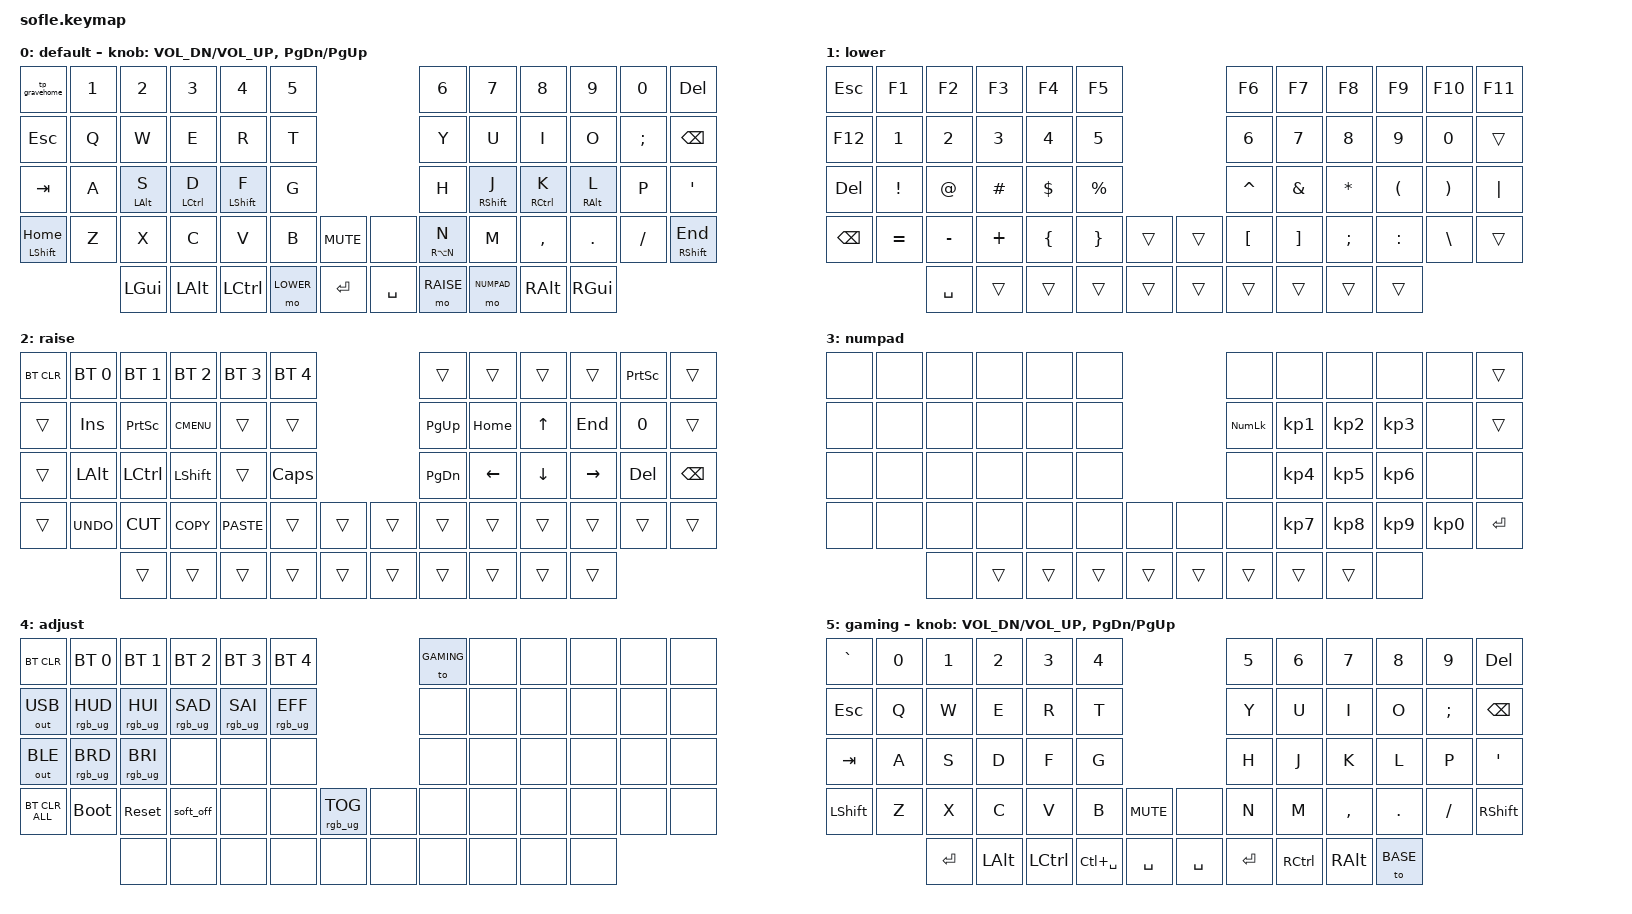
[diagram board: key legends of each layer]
/*
 * Copyright (c) 2020 The ZMK Contributors
 *
 * SPDX-License-Identifier: MIT
 */

#include <behaviors.dtsi>
#include <dt-bindings/zmk/bt.h>
#include <dt-bindings/zmk/keys.h>
#include <dt-bindings/zmk/outputs.h>
#include <dt-bindings/zmk/rgb.h>

#define BASE 0
#define LOWER 1
#define RAISE 2
#define NUMPAD 3
#define ADJUST 4
#define GAMING 5

// Hand position groups for home-row mods (timeless recipe)

#define KEYS_L 0 1 2 3 4 5 12 13 14 15 16 17 24 25 26 27 28 29 36 37 38 39 40 41 42
#define KEYS_R 6 7 8 9 10 11 18 19 20 21 22 23 30 31 32 33 34 35 43 44 45 46 47 48 49
#define THUMBS 50 51 52 53 54 55 56 57 58 59

/ {
    // Configuración Home Row Mods (Timeless)

    behaviors {
        hml: home_row_mod_left {
            compatible = "zmk,behavior-hold-tap";
            #binding-cells = <2>;
            tapping-term-ms = <280>;
            quick-tap-ms = <175>;
            require-prior-idle-ms = <150>;
            flavor = "balanced";
            bindings = <&kp>, <&kp>;

            hold-trigger-key-positions = <KEYS_R THUMBS>;
            hold-trigger-on-release;
        };

        hmr: home_row_mod_right {
            compatible = "zmk,behavior-hold-tap";
            #binding-cells = <2>;
            tapping-term-ms = <280>;
            quick-tap-ms = <175>;
            require-prior-idle-ms = <150>;
            flavor = "balanced";
            bindings = <&kp>, <&kp>;

            hold-trigger-key-positions = <KEYS_L THUMBS>;
            hold-trigger-on-release;
        };

        ntilde_ht: ntilde_ht {
            compatible = "zmk,behavior-hold-tap";
            #binding-cells = <2>;
            tapping-term-ms = <200>;
            quick-tap-ms = <175>;
            flavor = "tap-preferred";
            bindings = <&kp>, <&kp>;
        };

        tp_gravehome: tp_gravehome {
            compatible = "zmk,behavior-tap-dance";
            #binding-cells = <0>;
            bindings = <&kp GRAVE>, <&kp HOME>;
        };
    };

    conditional_layers {
        compatible = "zmk,conditional-layers";

        adjust_layer {
            if-layers = <LOWER RAISE>;
            then-layer = <ADJUST>;
        };
    };

    keymap {
        compatible = "zmk,keymap";

        default_layer {
            display-name = "default";
            bindings = <
&tp_gravehome    &kp N1  &kp N2       &kp N3        &kp N4        &kp N5                              &kp N6              &kp N7        &kp N8        &kp N9       &kp N0         &kp DELETE
&kp ESC          &kp Q   &kp W        &kp E         &kp R         &kp T                               &kp Y               &kp U         &kp I         &kp O        &kp SEMICOLON  &kp BSPC
&kp TAB          &kp A   &hml LALT S  &hml LCTRL D  &hml LSHFT F  &kp G                               &kp H               &hmr RSHFT J  &hmr RCTRL K  &hmr RALT L  &kp P          &kp SQT
&mt LSHIFT HOME  &kp Z   &kp X        &kp C         &kp V         &kp B      &kp C_MUTE    &none      &ntilde_ht RA(N) N  &kp M         &kp COMMA     &kp DOT      &kp FSLH       &mt RSHIFT END
                         &kp LGUI     &kp LALT      &kp LCTRL     &mo LOWER  &kp RET       &kp SPACE  &mo RAISE           &mo NUMPAD    &kp RALT      &kp RGUI
            >;

            sensor-bindings =
                <&inc_dec_kp C_VOL_DN C_VOL_UP>,
                <&inc_dec_kp PAGE_DOWN PAGE_UP>;
        };

        lower_layer {
            display-name = "lower";
            bindings = <
&kp ESC     &kp F1     &kp F2     &kp F3    &kp F4    &kp F5                       &kp F6     &kp F7    &kp F8     &kp F9     &kp F10   &kp F11
&kp F12     &kp N1     &kp N2     &kp N3    &kp N4    &kp N5                       &kp N6     &kp N7    &kp N8     &kp N9     &kp N0    &trans
&kp DELETE  &kp EXCL   &kp AT     &kp HASH  &kp DLLR  &kp PRCNT                    &kp CARET  &kp AMPS  &kp ASTRK  &kp LPAR   &kp RPAR  &kp PIPE
&kp BSPC    &kp EQUAL  &kp MINUS  &kp PLUS  &kp LBRC  &kp RBRC   &trans    &trans  &kp LBKT   &kp RBKT  &kp SEMI   &kp COLON  &kp BSLH  &trans
                       &kp SPACE  &trans    &trans    &trans     &trans    &trans  &trans     &trans    &trans     &trans
            >;
        };

        raise_layer {
            display-name = "raise";
            bindings = <
&bt BT_CLR  &bt BT_SEL 0  &bt BT_SEL 1  &bt BT_SEL 2  &bt BT_SEL 3  &bt BT_SEL 4                    &trans     &trans    &trans    &trans     &kp PRINTSCREEN  &trans
&trans      &kp INS       &kp PSCRN     &kp K_CMENU   &trans        &trans                          &kp PG_UP  &kp HOME  &kp UP    &kp END    &kp N0           &trans
&trans      &kp LALT      &kp LCTRL     &kp LSHFT     &trans        &kp CLCK                        &kp PG_DN  &kp LEFT  &kp DOWN  &kp RIGHT  &kp DEL          &kp BSPC
&trans      &kp K_UNDO    &kp K_CUT     &kp K_COPY    &kp K_PASTE   &trans        &trans    &trans  &trans     &trans    &trans    &trans     &trans           &trans
                          &trans        &trans        &trans        &trans        &trans    &trans  &trans     &trans    &trans    &trans
            >;
        };

        extra {
            bindings = <
&none  &none  &none  &none   &none   &none                     &none           &none            &none            &none            &none            &trans
&none  &none  &none  &none   &none   &none                     &kp KP_NUMLOCK  &kp KP_NUMBER_1  &kp KP_NUMBER_2  &kp KP_NUMBER_3  &none            &trans
&none  &none  &none  &none   &none   &none                     &none           &kp KP_NUMBER_4  &kp KP_NUMBER_5  &kp KP_NUMBER_6  &none            &none
&none  &none  &none  &none   &none   &none   &none     &none   &none           &kp KP_NUMBER_7  &kp KP_NUMBER_8  &kp KP_NUMBER_9  &kp KP_NUMBER_0  &kp ENTER
              &none  &trans  &trans  &trans  &trans    &trans  &trans          &trans           &trans           &none
            >;

            display-name = "numpad";
        };

        adjust_layer {
            display-name = "adjust";
            bindings = <
&bt BT_CLR      &bt BT_SEL 0     &bt BT_SEL 1     &bt BT_SEL 2     &bt BT_SEL 3     &bt BT_SEL 4                               &to GAMING  &none  &none  &none  &none  &none
&out OUT_USB    &rgb_ug RGB_HUD  &rgb_ug RGB_HUI  &rgb_ug RGB_SAD  &rgb_ug RGB_SAI  &rgb_ug RGB_EFF                            &none       &none  &none  &none  &none  &none
&out OUT_BLE    &rgb_ug RGB_BRD  &rgb_ug RGB_BRI  &none            &none            &none                                      &none       &none  &none  &none  &none  &none
&bt BT_CLR_ALL  &bootloader      &sys_reset       &soft_off        &none            &none            &rgb_ug RGB_TOG    &none  &none       &none  &none  &none  &none  &none
                                 &none            &none            &none            &none            &none              &none  &none       &none  &none  &none
            >;
        };

        gaming {
            display-name = "gaming";
            bindings = <
&kp GRAVE  &kp N0  &kp N1     &kp N2    &kp N3     &kp N4                                  &kp N5     &kp N6     &kp N7     &kp N8    &kp N9         &kp DELETE
&kp ESC    &kp Q   &kp W      &kp E     &kp R      &kp T                                   &kp Y      &kp U      &kp I      &kp O     &kp SEMICOLON  &kp BSPC
&kp TAB    &kp A   &kp S      &kp D     &kp F      &kp G                                   &kp H      &kp J      &kp K      &kp L     &kp P          &kp SQT
&kp LSHFT  &kp Z   &kp X      &kp C     &kp V      &kp B          &kp C_MUTE    &none      &kp N      &kp M      &kp COMMA  &kp DOT   &kp FSLH       &kp RSHFT
                   &kp ENTER  &kp LALT  &kp LCTRL  &kp LC(SPACE)  &kp SPACE     &kp SPACE  &kp ENTER  &kp RCTRL  &kp RALT   &to BASE
            >;

            sensor-bindings =
                <&inc_dec_kp C_VOL_DN C_VOL_UP>,
                <&inc_dec_kp PAGE_DOWN PAGE_UP>;
        };
    };
};

&soft_off { hold-time-ms = <2000>; };
